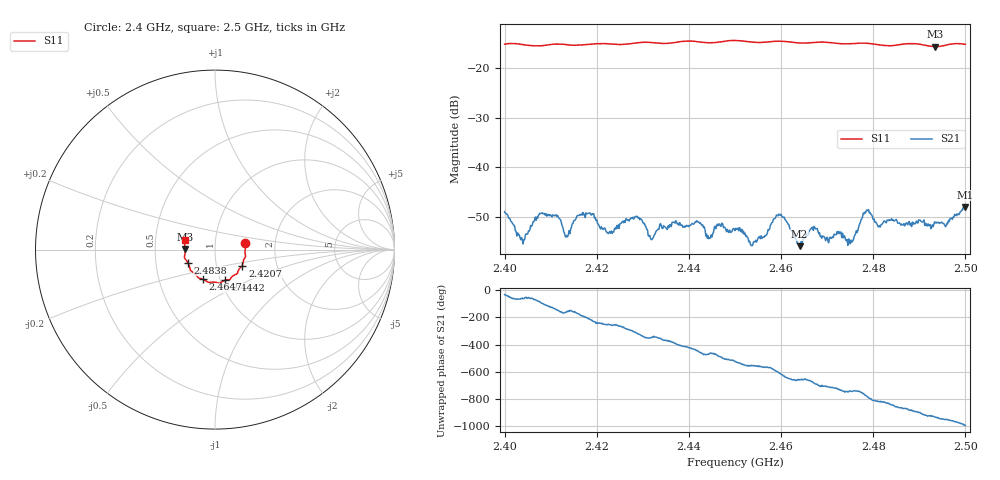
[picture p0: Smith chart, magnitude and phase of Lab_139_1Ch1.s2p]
# Hz S RI R 50
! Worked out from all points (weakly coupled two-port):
!   601 points, 2.4 GHz to 2.5 GHz, reference 50 ohm
!   highest |S21| = -47.97 dB at 2.5 GHz (marker M1); lowest = -55.9 dB at 2.464 GHz (marker M2)
!   lowest |S11| = -15.7 dB at 2.4935 GHz (marker M3), VSWR 1.39, Z = 35.9 + j0.134 ohm
!   |S11| at or under -10 dB: start of sweep to end of sweep
!   S12 and S22 are empty: the file has one direction only
!   S11 on the Smith chart (normalised r, x): 2.4 GHz: 1.40, +0.11; 2.4207 GHz: 1.33, -0.24; 2.4442 GHz: 1.06, -0.37; 2.4647 GHz: 0.83, -0.28; 2.4838 GHz: 0.73, -0.11; 2.5 GHz: 0.71, +0.08
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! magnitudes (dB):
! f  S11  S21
! 2.4 GHz  -15.2  -48.9
! 2.4038 GHz  -15.2  -54.5
! 2.4078 GHz  -15.5  -49.3
! 2.4115 GHz  -15.2  -49.7
! 2.4133 GHz  -15.3  -54.1
! 2.4167 GHz  -15.3  -49.4
! 2.4207 GHz  -15.1  -52.1
! 2.4333 GHz  -15.0  -52.5
! 2.442 GHz  -14.7  -51.0
! 2.4442 GHz  -14.9  -53.8
! 2.45 GHz  -14.4  -52.7
! 2.4538 GHz  -14.8  -55.7
! 2.4595 GHz  -14.6  -49.4
! 2.464 GHz  -14.9  -55.9
! 2.4647 GHz  -15.0  -54.7
! 2.4667 GHz  -14.9  -52.2
! 2.475 GHz  -15.1  -55.4
! 2.4785 GHz  -15.0  -48.7
! 2.4833 GHz  -15.5  -50.8
! 2.4838 GHz  -15.5  -50.7
! 2.4935 GHz  -15.7  -51.2
! 2.5 GHz  -15.2  -48.0
